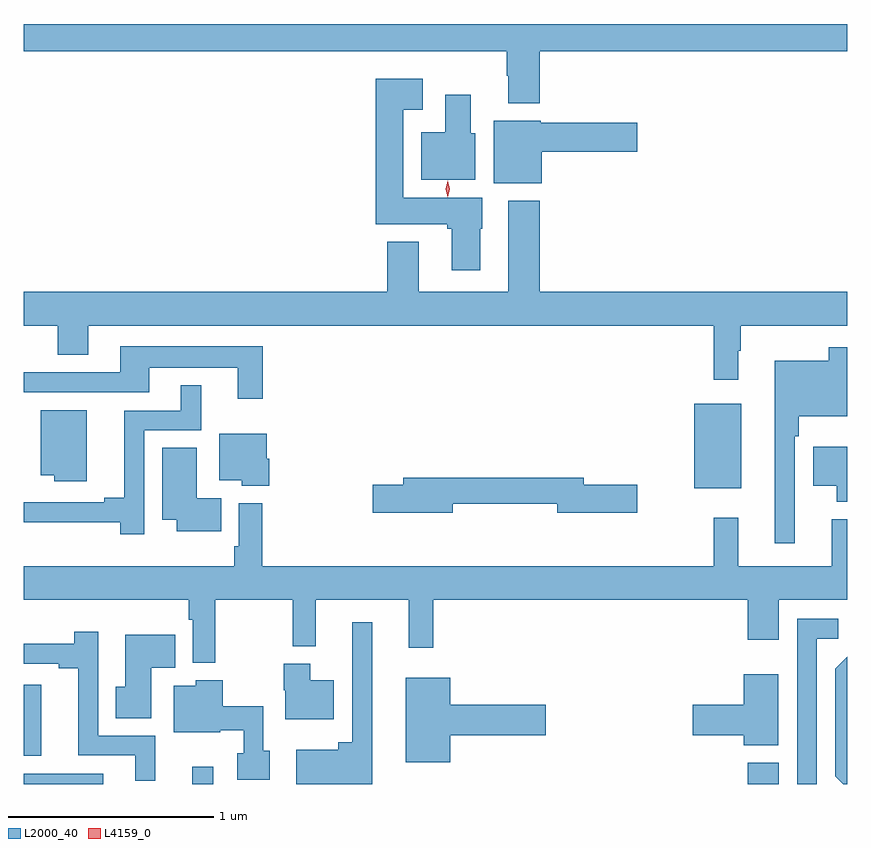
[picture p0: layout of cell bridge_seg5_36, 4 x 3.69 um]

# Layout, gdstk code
import gdstk
lib = gdstk.Library(unit=1e-6, precision=1e-09)
def R(c, l, rs):  # rectangles x0, y0, x1, y1
    for r in rs: c.add(gdstk.rectangle(r[:2], r[2:], *l))
def P(c, l, *ps):  # polygons
    for p in ps: c.add(gdstk.Polygon(p, *l))
L2000_40 = (2000, 40)
L4159_0 = (4159, 0)

bridge_seg5_36 = lib.new_cell('bridge_seg5_36')
R(bridge_seg5_36, L2000_40, [(755.271,911.81,755.659,911.859), (756.089,911.81,756.193,911.893), (758.786,911.81,758.938,911.914), (755.271,911.948,755.356,912.292), (758.528,913.247,758.755,913.657)])
P(bridge_seg5_36, L2000_40, [(757.778,915.368),(759.271,915.368),(759.271,915.5),(755.271,915.5),(755.271,915.368),(757.618,915.368),(757.618,915.248),(757.625,915.248),(757.625,915.116),(757.778,915.116)],
  [(757.489,914.505),(757.498,914.505),(757.498,914.656),(757.114,914.656),(757.114,915.083),(757.21,915.083),(757.21,915.235),(756.98,915.235),(756.98,914.528),(757.328,914.528),(757.328,914.505),(757.349,914.505),(757.349,914.304),(757.489,914.304)],
  [(757.465,914.97),(757.441,914.97),(757.441,915.157),(757.319,915.157),(757.319,914.974),(757.202,914.974),(757.202,914.744),(757.465,914.744)],
  [(757.786,914.879),(758.251,914.879),(758.251,915.021),(757.782,915.021),(757.782,915.031),(757.553,915.031),(757.553,914.726),(757.786,914.726)],
  [(758.74,913.913),(758.752,913.913),(758.752,914.036),(759.271,914.036),(759.271,914.2),(757.778,914.2),(757.778,914.641),(757.625,914.641),(757.625,914.2),(757.189,914.2),(757.189,914.443),(757.037,914.443),(757.037,914.2),(755.271,914.2),(755.271,914.036),(755.437,914.036),(755.437,913.894),(755.584,913.894),(755.584,914.036),(758.623,914.036),(758.623,913.773),(758.74,913.773)],
  [(756.433,913.936),(755.741,913.936),(755.741,913.809),(755.271,913.809),(755.271,913.713),(755.881,913.713),(755.881,913.832),(756.311,913.832),(756.311,913.68),(756.433,913.68)],
  [(759.015,913.499),(759.035,913.499),(759.035,913.595),(759.271,913.595),(759.271,913.93),(759.18,913.93),(759.18,913.864),(758.918,913.864),(758.918,912.978),(759.015,912.978)],
  [(755.856,913.527),(756.133,913.527),(756.133,913.747),(756.035,913.747),(756.035,913.623),(755.759,913.623),(755.759,913.199),(755.663,913.199),(755.663,913.179),(755.271,913.179),(755.271,913.082),(755.74,913.082),(755.74,913.023),(755.856,913.023)],
  [(755.578,913.624),(755.354,913.624),(755.354,913.31),(755.42,913.31),(755.42,913.28),(755.578,913.28)],
  [(756.464,913.39),(756.451,913.39),(756.451,913.51),(756.221,913.51),(756.221,913.286),(756.33,913.286),(756.33,913.259),(756.464,913.259)],
  [(759.271,913.447),(759.104,913.447),(759.104,913.259),(759.218,913.259),(759.218,913.181),(759.271,913.181)],
  [(756.23,913.198),(756.112,913.198),(756.112,913.442),(755.945,913.442),(755.945,913.094),(756.014,913.094),(756.014,913.037),(756.23,913.037)],
  [(757.354,913.17),(757.862,913.17),(757.862,913.127),(758.251,913.127),(758.251,913.262),(757.99,913.262),(757.99,913.298),(757.115,913.298),(757.115,913.262),(756.966,913.262),(756.966,913.127),(757.354,913.127)],
  [(756.202,912.704),(756.579,912.704),(756.579,912.479),(756.689,912.479),(756.689,912.704),(757.142,912.704),(757.142,912.471),(757.259,912.471),(757.259,912.704),(758.786,912.704),(758.786,912.51),(758.938,912.51),(758.938,912.704),(759.271,912.704),(759.271,913.096),(759.194,913.096),(759.194,912.868),(758.741,912.868),(758.741,913.102),(758.623,913.102),(758.623,912.868),(756.431,912.868),(756.431,913.174),(756.315,913.174),(756.315,912.964),(756.295,912.964),(756.295,912.868),(755.271,912.868),(755.271,912.704),(756.073,912.704),(756.073,912.608),(756.093,912.608),(756.093,912.398),(756.202,912.398)],
  [(759.123,912.516),(759.226,912.516),(759.226,912.612),(759.027,912.612),(759.027,911.81),(759.123,911.81)],
  [(756.964,912.595),(756.867,912.595),(756.867,912.013),(756.799,912.013),(756.799,911.977),(756.594,911.977),(756.594,911.81),(756.964,911.81)],
  [(755.911,912.045),(755.634,912.045),(755.634,912.55),(755.518,912.55),(755.518,912.491),(755.271,912.491),(755.271,912.393),(755.441,912.393),(755.441,912.373),(755.537,912.373),(755.537,911.949),(755.813,911.949),(755.813,911.825),(755.911,911.825)],
  [(755.89,912.374),(756.008,912.374),(756.008,912.535),(755.765,912.535),(755.765,912.282),(755.719,912.282),(755.719,912.13),(755.89,912.13)],
  [(759.271,912.429),(759.213,912.37),(759.213,911.848),(759.251,911.81),(759.271,911.81)],
  [(756.778,912.313),(756.664,912.313),(756.664,912.394),(756.535,912.394),(756.535,912.265),(756.542,912.265),(756.542,912.125),(756.778,912.125)],
  [(758.935,912.343),(758.768,912.343),(758.768,912.194),(758.52,912.194),(758.52,912.047),(758.768,912.047),(758.768,911.999),(758.935,911.999)],
  [(757.342,912.047),(757.807,912.047),(757.807,912.194),(757.342,912.194),(757.342,912.325),(757.127,912.325),(757.127,911.915),(757.342,911.915)],
  [(756.466,911.972),(756.435,911.972),(756.435,912.188),(756.237,912.188),(756.237,912.313),(756.108,912.313),(756.108,912.286),(755.999,912.286),(755.999,912.062),(756.225,912.062),(756.225,912.072),(756.339,912.072),(756.339,911.959),(756.308,911.959),(756.308,911.83),(756.466,911.83)])
P(bridge_seg5_36, L4159_0, [(757.331,914.659),(757.331,914.659),(757.321,914.699),(757.33,914.739),(757.33,914.739),(757.331,914.739),(757.341,914.699),(757.331,914.659)])

lib.write_gds('bridge_seg5_36.gds')
